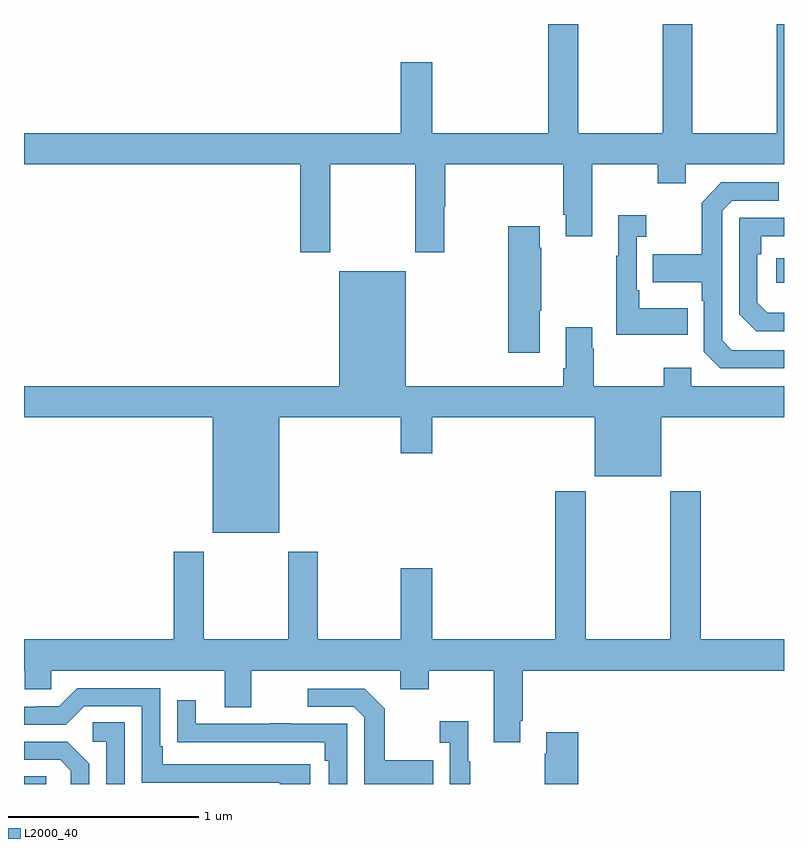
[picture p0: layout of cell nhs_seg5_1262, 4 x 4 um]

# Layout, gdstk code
import gdstk
lib = gdstk.Library(unit=1e-6, precision=1e-09)
def R(c, l, rs):  # rectangles x0, y0, x1, y1
    for r in rs: c.add(gdstk.rectangle(r[:2], r[2:], *l))
def P(c, l, *ps):  # polygons
    for p in ps: c.add(gdstk.Polygon(p, *l))
L2000_40 = (2000, 40)

nhs_seg5_1262 = lib.new_cell('nhs_seg5_1262')
R(nhs_seg5_1262, L2000_40, [(187,886.799,187.116,886.841), (190.959,889.436,191,889.566)])
P(nhs_seg5_1262, L2000_40, [(188.613,890.06),(189.058,890.06),(189.058,889.599),(189.213,889.599),(189.213,889.838),(189.218,889.838),(189.218,890.06),(189.839,890.06),(189.839,889.795),(189.851,889.795),(189.851,889.683),(189.991,889.683),(189.991,890.06),(190.336,890.06),(190.336,889.961),(190.483,889.961),(190.483,890.06),(191,890.06),(191,890.799),(190.963,890.799),(190.963,890.224),(190.518,890.224),(190.518,890.799),(190.363,890.799),(190.363,890.224),(189.918,890.224),(189.918,890.799),(189.758,890.799),(189.758,890.224),(189.148,890.224),(189.148,890.599),(188.984,890.599),(188.984,890.224),(187,890.224),(187,890.06),(188.453,890.06),(188.453,889.599),(188.613,889.599)],
  [(191,889.083),(190.725,889.083),(190.674,889.134),(190.674,889.815),(190.728,889.869),(190.972,889.869),(190.972,889.965),(190.671,889.965),(190.566,889.859),(190.566,889.587),(190.309,889.587),(190.309,889.439),(190.566,889.439),(190.566,889.343),(190.578,889.343),(190.578,889.074),(190.665,888.987),(191,888.987)],
  [(190.493,889.303),(190.237,889.303),(190.237,889.399),(190.224,889.399),(190.224,889.679),(190.276,889.679),(190.276,889.792),(190.127,889.792),(190.127,889.579),(190.116,889.579),(190.116,889.163),(190.493,889.163)],
  [(191,889.279),(190.913,889.279),(190.86,889.332),(190.86,889.586),(190.88,889.586),(190.88,889.683),(191,889.683),(191,889.779),(190.764,889.779),(190.764,889.272),(190.854,889.182),(191,889.182)],
  [(189.715,889.291),(189.723,889.291),(189.723,889.622),(189.715,889.622),(189.715,889.735),(189.548,889.735),(189.548,889.068),(189.715,889.068)],
  [(188.344,888.728),(188.984,888.728),(188.984,888.54),(189.148,888.54),(189.148,888.728),(190.004,888.728),(190.004,888.419),(190.354,888.419),(190.354,888.728),(191,888.728),(191,888.892),(190.512,888.892),(190.512,888.991),(190.366,888.991),(190.366,888.892),(189.999,888.892),(189.999,889.091),(189.991,889.091),(189.991,889.204),(189.851,889.204),(189.851,888.988),(189.839,888.988),(189.839,888.892),(189.01,888.892),(189.01,889.498),(188.66,889.498),(188.66,888.892),(187,888.892),(187,888.728),(187.994,888.728),(187.994,888.122),(188.344,888.122)],
  [(189.613,887.131),(189.626,887.131),(189.626,887.396),(191,887.396),(191,887.56),(190.562,887.56),(190.562,888.34),(190.402,888.34),(190.402,887.56),(189.957,887.56),(189.957,888.34),(189.797,888.34),(189.797,887.56),(189.148,887.56),(189.148,887.935),(188.984,887.935),(188.984,887.56),(188.547,887.56),(188.547,888.022),(188.392,888.022),(188.392,887.56),(187.947,887.56),(187.947,888.022),(187.787,888.022),(187.787,887.56),(187,887.56),(187,887.396),(187.005,887.396),(187.005,887.298),(187.143,887.298),(187.143,887.396),(188.057,887.396),(188.057,887.202),(188.197,887.202),(188.197,887.396),(188.981,887.396),(188.981,887.297),(189.129,887.297),(189.129,887.396),(189.473,887.396),(189.473,887.019),(189.613,887.019)],
  [(188.506,886.902),(187.729,886.902),(187.729,886.999),(187.716,886.999),(187.716,887.304),(187.281,887.304),(187.185,887.208),(187.067,887.208),(187.067,887.205),(187,887.205),(187,887.112),(187.221,887.112),(187.317,887.208),(187.62,887.208),(187.62,886.806),(188.345,886.806),(188.345,886.799),(188.506,886.799)],
  [(189.155,886.923),(188.899,886.923),(188.899,887.195),(188.793,887.301),(188.493,887.301),(188.493,887.205),(188.736,887.205),(188.79,887.151),(188.79,886.799),(189.155,886.799)],
  [(188.7,887.115),(188.405,887.115),(188.405,887.12),(188.293,887.12),(188.293,887.115),(187.903,887.115),(187.903,887.239),(187.807,887.239),(187.807,887.02),(187.909,887.02),(187.909,887.019),(188.584,887.019),(188.584,886.922),(188.604,886.922),(188.604,886.799),(188.7,886.799)],
  [(189.349,886.915),(189.337,886.915),(189.337,887.128),(189.189,887.128),(189.189,887.015),(189.24,887.015),(189.24,886.799),(189.349,886.799)],
  [(187.53,887.123),(187.362,887.123),(187.362,887.022),(187.434,887.022),(187.434,886.799),(187.53,886.799)],
  [(189.917,887.071),(189.749,887.071),(189.749,886.958),(189.742,886.958),(189.742,886.799),(189.917,886.799)],
  [(187.344,886.906),(187.228,887.022),(187,887.022),(187,886.926),(187.19,886.926),(187.247,886.869),(187.247,886.799),(187.344,886.799)])

lib.write_gds('nhs_seg5_1262.gds')
